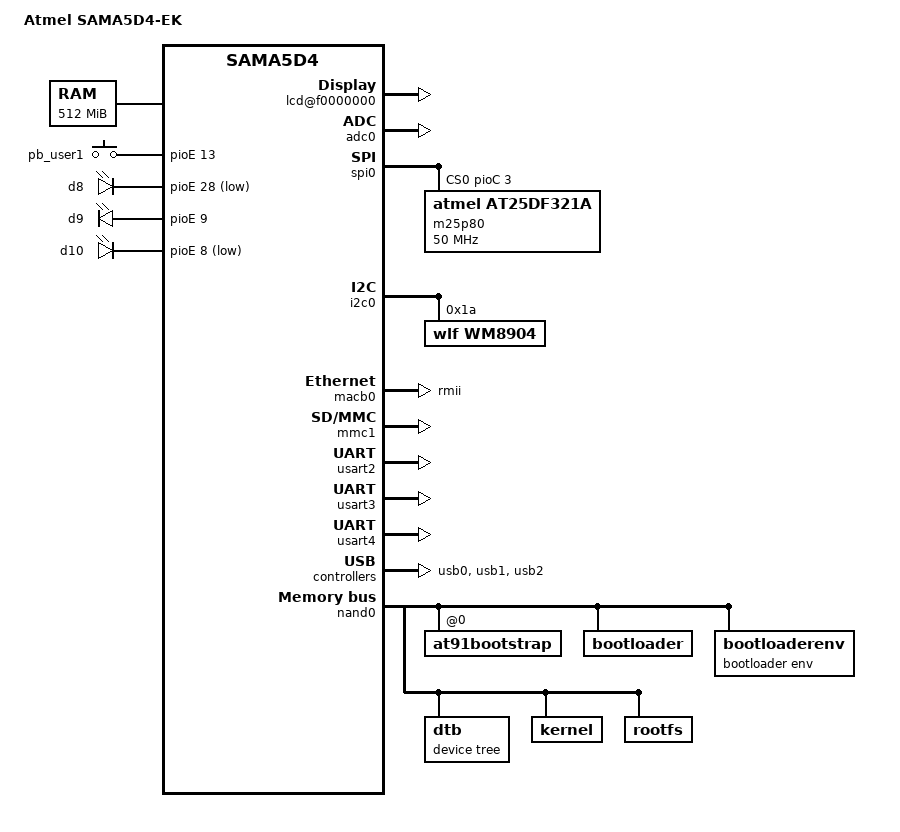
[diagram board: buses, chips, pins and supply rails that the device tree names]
/*
 * at91-sama5d4ek.dts - Device Tree file for SAMA5D4 Evaluation Kit
 *
 *  Copyright (C) 2014 Atmel,
 *                2014 Nicolas Ferre <nicolas.ferre@atmel.com>
 *
 * This file is dual-licensed: you can use it either under the terms
 * of the GPL or the X11 license, at your option. Note that this dual
 * licensing only applies to this file, and not this project as a
 * whole.
 *
 *  a) This file is free software; you can redistribute it and/or
 *     modify it under the terms of the GNU General Public License as
 *     published by the Free Software Foundation; either version 2 of the
 *     License, or (at your option) any later version.
 *
 *     This file is distributed in the hope that it will be useful,
 *     but WITHOUT ANY WARRANTY; without even the implied warranty of
 *     MERCHANTABILITY or FITNESS FOR A PARTICULAR PURPOSE.  See the
 *     GNU General Public License for more details.
 *
 * Or, alternatively,
 *
 *  b) Permission is hereby granted, free of charge, to any person
 *     obtaining a copy of this software and associated documentation
 *     files (the "Software"), to deal in the Software without
 *     restriction, including without limitation the rights to use,
 *     copy, modify, merge, publish, distribute, sublicense, and/or
 *     sell copies of the Software, and to permit persons to whom the
 *     Software is furnished to do so, subject to the following
 *     conditions:
 *
 *     The above copyright notice and this permission notice shall be
 *     included in all copies or substantial portions of the Software.
 *
 *     THE SOFTWARE IS PROVIDED "AS IS", WITHOUT WARRANTY OF ANY KIND,
 *     EXPRESS OR IMPLIED, INCLUDING BUT NOT LIMITED TO THE WARRANTIES
 *     OF MERCHANTABILITY, FITNESS FOR A PARTICULAR PURPOSE AND
 *     NONINFRINGEMENT. IN NO EVENT SHALL THE AUTHORS OR COPYRIGHT
 *     HOLDERS BE LIABLE FOR ANY CLAIM, DAMAGES OR OTHER LIABILITY,
 *     WHETHER IN AN ACTION OF CONTRACT, TORT OR OTHERWISE, ARISING
 *     FROM, OUT OF OR IN CONNECTION WITH THE SOFTWARE OR THE USE OR
 *     OTHER DEALINGS IN THE SOFTWARE.
 */
/dts-v1/;
#include "sama5d4.dtsi"

/ {
	model = "Atmel SAMA5D4-EK";
	compatible = "atmel,sama5d4ek", "atmel,sama5d4", "atmel,sama5";

	chosen {
		bootargs = "console=ttyS0,115200 ignore_loglevel earlyprintk";
	};

	memory {
		reg = <0x20000000 0x20000000>;
	};

	clocks {
		#address-cells = <1>;
		#size-cells = <1>;
		ranges;

		main_clock: clock@0 {
			compatible = "atmel,osc", "fixed-clock";
			clock-frequency = <12000000>;
		};

		slow_xtal {
			clock-frequency = <32768>;
		};

		main_xtal {
			clock-frequency = <12000000>;
		};
	};

	ahb {
		apb {
			lcd_bus@f0000000 {
				status = "okay";

				lcd@f0000000 {
					status = "okay";
				};

				lcdovl1@f0000140 {
					status = "okay";
				};

				lcdovl2@f0000240 {
					status = "okay";
				};

				lcdheo1@f0000340 {
					status = "okay";
				};
			};

			adc0: adc@fc034000 {
				/* The vref depends on JP22 of EK. If connect 1-2 then use 3.3V. connect 2-3 use 3.0V */
				atmel,adc-vref = <3300>;
				/*atmel,adc-ts-wires = <4>;*/	/* Set up ADC touch screen */
				status = "okay";		/* Enable ADC IIO support */
			};

			mmc0: mmc@f8000000 {
				pinctrl-names = "default";
				pinctrl-0 = <&pinctrl_mmc0_clk_cmd_dat0 &pinctrl_mmc0_dat1_3 &pinctrl_mmc0_cd>;
				slot@0 {
					reg = <0>;
					bus-width = <4>;
					cd-gpios = <&pioE 5 0>;
				};
			};

			ssc0: ssc@f8008000 {
				status = "okay";
			};

			spi0: spi@f8010000 {
				cs-gpios = <&pioC 3 0>, <0>, <0>, <0>;
				status = "okay";
				m25p80@0 {
					compatible = "atmel,at25df321a";
					spi-max-frequency = <50000000>;
					reg = <0>;
				};
			};

			i2c0: i2c@f8014000 {
				status = "okay";

				wm8904: codec@1a {
					compatible = "wlf,wm8904";
					reg = <0x1a>;
					clocks = <&pck2>;
					clock-names = "mclk";
				};
			};

			macb0: ethernet@f8020000 {
				phy-mode = "rmii";
				status = "okay";
			};

			mmc1: mmc@fc000000 {
				pinctrl-names = "default";
				pinctrl-0 = <&pinctrl_mmc1_clk_cmd_dat0 &pinctrl_mmc1_dat1_3 &pinctrl_mmc1_cd>;
				status = "okay";
				slot@0 {
					reg = <0>;
					bus-width = <4>;
					cd-gpios = <&pioE 6 0>;
				};
			};

			usart2: serial@fc008000 {
				status = "okay";
			};

			usart3: serial@fc00c000 {
				status = "okay";
			};

			usart4: serial@fc010000 {
				status = "okay";
			};

			watchdog@fc068640 {
				status = "okay";
			};

			pinctrl@fc06a000 {
				board {
					pinctrl_mmc0_cd: mmc0_cd {
						atmel,pins =
							<AT91_PIOE 5 AT91_PERIPH_GPIO AT91_PINCTRL_PULL_UP_DEGLITCH>;
					};
					pinctrl_mmc1_cd: mmc1_cd {
						atmel,pins =
							<AT91_PIOE 6 AT91_PERIPH_GPIO AT91_PINCTRL_PULL_UP_DEGLITCH>;
					};
					pinctrl_pck2_as_audio_mck: pck2_as_audio_mck {
						atmel,pins =
							<AT91_PIOB 10 AT91_PERIPH_B AT91_PINCTRL_NONE>;
					};
					pinctrl_usba_vbus: usba_vbus {
						atmel,pins =
							<AT91_PIOE 31 AT91_PERIPH_GPIO AT91_PINCTRL_DEGLITCH>;
					};
					pinctrl_key_gpio: key_gpio_0 {
						atmel,pins =
							<AT91_PIOE 13 AT91_PERIPH_GPIO AT91_PINCTRL_PULL_UP_DEGLITCH>; /* PE13 gpio */
					};
				};
			};
		};

		usb0: gadget@00400000 {
			atmel,vbus-gpio = <&pioE 31 GPIO_ACTIVE_HIGH>;
			pinctrl-names = "default";
			pinctrl-0 = <&pinctrl_usba_vbus>;
			status = "okay";
		};

		usb1: ohci@00500000 {
			num-ports = <3>;
			atmel,vbus-gpio = <0 /* &pioE 10 GPIO_ACTIVE_LOW */
					   &pioE 11 GPIO_ACTIVE_LOW
					   &pioE 12 GPIO_ACTIVE_LOW
					  >;
			status = "okay";
		};

		usb2: ehci@00600000 {
			status = "okay";
		};

		nand0: nand@80000000 {
			nand-bus-width = <8>;
			nand-ecc-mode = "hw";
			nand-on-flash-bbt;
			atmel,has-pmecc;
			status = "okay";

			at91bootstrap@0 {
				label = "at91bootstrap";
				reg = <0x0 0x40000>;
			};

			bootloader@40000 {
				label = "bootloader";
				reg = <0x40000 0x80000>;
			};

			bootloaderenv@c0000 {
				label = "bootloader env";
				reg = <0xc0000 0xc0000>;
			};

			dtb@180000 {
				label = "device tree";
				reg = <0x180000 0x80000>;
			};

			kernel@200000 {
				label = "kernel";
				reg = <0x200000 0x600000>;
			};

			rootfs@800000 {
				label = "rootfs";
				reg = <0x800000 0x0f800000>;
			};
		};
	};

	gpio_keys {
		compatible = "gpio-keys";

		pinctrl-names = "default";
		pinctrl-0 = <&pinctrl_key_gpio>;

		pb_user1 {
			label = "pb_user1";
			gpios = <&pioE 13 GPIO_ACTIVE_HIGH>;
			linux,code = <0x100>;
			gpio-key,wakeup;
		};
	};

	leds {
		compatible = "gpio-leds";
		status = "okay";

		d8 {
			label = "d8";
			/* PE28, conflicts with usart4 rts pin */
			gpios = <&pioE 28 GPIO_ACTIVE_LOW>;
		};

		d9 {
			label = "d9";
			gpios = <&pioE 9 GPIO_ACTIVE_HIGH>;
		};

		d10 {
			label = "d10";
			gpios = <&pioE 8 GPIO_ACTIVE_LOW>;
			linux,default-trigger = "heartbeat";
		};
	};

	sound {
		compatible = "atmel,asoc-wm8904";
		pinctrl-names = "default";
		pinctrl-0 = <&pinctrl_pck2_as_audio_mck>;

		atmel,model = "wm8904 @ SAMA5D4EK";
		atmel,audio-routing =
			"Headphone Jack", "HPOUTL",
			"Headphone Jack", "HPOUTR",
			"IN1L", "Line In Jack",
			"IN1R", "Line In Jack";

		atmel,ssc-controller = <&ssc0>;
		atmel,audio-codec = <&wm8904>;
	};
};
